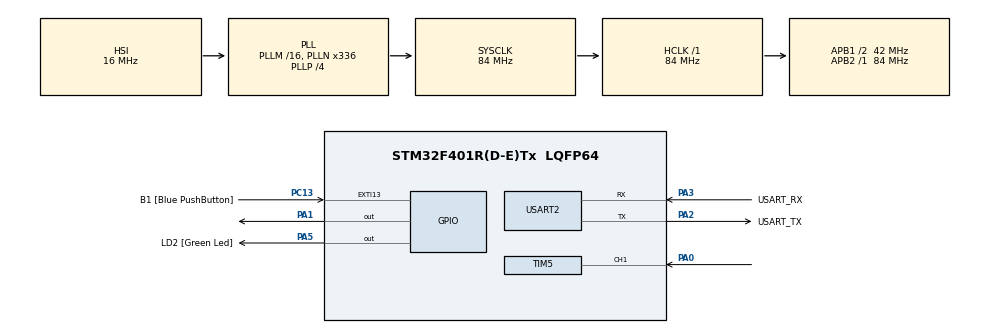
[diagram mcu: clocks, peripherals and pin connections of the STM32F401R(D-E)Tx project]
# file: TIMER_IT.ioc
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Mcu.Family=STM32F4
Mcu.Name=STM32F401R(D-E)Tx
Mcu.Package=LQFP64
NVIC.PriorityGroup=NVIC_PRIORITYGROUP_0
NVIC.TIM5_IRQn=true\:0\:0\:false\:false\:true\:true\:true
PA0-WKUP.Signal=S_TIM5_CH1
PA1.Signal=GPIO_Output
PA13.GPIO_Label=TMS
PA13.Mode=Trace_Asynchronous_SW
PA13.Signal=SYS_JTMS-SWDIO
PA14.GPIO_Label=TCK
PA14.Mode=Trace_Asynchronous_SW
PA14.Signal=SYS_JTCK-SWCLK
PA2.GPIO_Label=USART_TX
PA2.GPIO_Mode=GPIO_MODE_AF_PP
PA2.GPIO_PuPd=GPIO_NOPULL
PA2.GPIO_Speed=GPIO_SPEED_FREQ_LOW
PA2.Mode=Asynchronous
PA2.Signal=USART2_TX
PA3.GPIO_Label=USART_RX
PA3.GPIO_Mode=GPIO_MODE_AF_PP
PA3.GPIO_PuPd=GPIO_NOPULL
PA3.GPIO_Speed=GPIO_SPEED_FREQ_LOW
PA3.Mode=Asynchronous
PA3.Signal=USART2_RX
PA5.GPIO_Label=LD2 [Green Led]
PA5.GPIO_Mode=GPIO_MODE_OUTPUT_PP
PA5.GPIO_PuPd=GPIO_NOPULL
PA5.GPIO_Speed=GPIO_SPEED_FREQ_LOW
PA5.Signal=GPIO_Output
PB3.GPIO_Label=SWO
PB3.Mode=Trace_Asynchronous_SW
PB3.Signal=SYS_JTDO-SWO
PC13-ANTI_TAMP.GPIO_Label=B1 [Blue PushButton]
PC13-ANTI_TAMP.GPIO_ModeDefaultEXTI=GPIO_MODE_IT_FALLING
PC13-ANTI_TAMP.GPIO_PuPd=GPIO_NOPULL
PC13-ANTI_TAMP.Signal=GPXTI13
PC14-OSC32_IN.Mode=LSE-External-Oscillator
PC14-OSC32_IN.Signal=RCC_OSC32_IN
PC15-OSC32_OUT.Mode=LSE-External-Oscillator
PC15-OSC32_OUT.Signal=RCC_OSC32_OUT
PH0\ -\ OSC_IN.Mode=HSE-External-Clock-Source
PH0\ -\ OSC_IN.Signal=RCC_OSC_IN
PH1\ -\ OSC_OUT.Mode=HSE-External-Clock-Source
PH1\ -\ OSC_OUT.Signal=RCC_OSC_OUT
ProjectManager.HeapSize=0x200
ProjectManager.StackSize=0x400
ProjectManager.TargetToolchain=STM32CubeIDE
RCC.48MHZClocksFreq_Value=48000000
RCC.AHBFreq_Value=84000000
RCC.APB1CLKDivider=RCC_HCLK_DIV2
RCC.APB1Freq_Value=42000000
RCC.APB1TimFreq_Value=84000000
RCC.APB2Freq_Value=84000000
RCC.APB2TimFreq_Value=84000000
RCC.CortexFreq_Value=84000000
RCC.HCLKFreq_Value=84000000
RCC.HSE_VALUE=8000000
RCC.HSI_VALUE=16000000
RCC.PLLN=336
RCC.PLLP=RCC_PLLP_DIV4
RCC.PLLQ=7
RCC.SYSCLKFreq_VALUE=84000000
RCC.SYSCLKSource=RCC_SYSCLKSOURCE_PLLCLK
RCC.VCOOutputFreq_Value=336000000
SH.S_TIM5_CH1.0=TIM5_CH1,Input_Capture1_from_TI1
SH.S_TIM5_CH1.1=TIM5_CH1,Input_Capture2_from_TI1
TIM5.Channel-Input_Capture1_from_TI1=TIM_CHANNEL_1
TIM5.Channel-Input_Capture2_from_TI1=TIM_CHANNEL_2
TIM5.ICPolarity_CH2=TIM_INPUTCHANNELPOLARITY_FALLING
TIM5.Period=65535
TIM5.Prescaler=840
USART2.VirtualMode=VM_ASYNC
board=NUCLEO-F401RE

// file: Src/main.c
/* USER CODE BEGIN Header */
/**
  ******************************************************************************
  * @file           : main.c
  * @brief          : Main program body
  ******************************************************************************
  * @attention
  *
  * <h2><center>&copy; Copyright (c) 2020 STMicroelectronics.
  * All rights reserved.</center></h2>
  *
  * This software component is licensed by ST under BSD 3-Clause license,
  * the "License"; You may not use this file except in compliance with the
  * License. You may obtain a copy of the License at:
  *                        opensource.org/licenses/BSD-3-Clause
  *
  ******************************************************************************
  */
/* USER CODE END Header */

#include "main.h"

/* USER CODE BEGIN Includes */
#include <stdio.h>
/* USER CODE END Includes */

TIM_HandleTypeDef htim5;

UART_HandleTypeDef huart2;

/* USER CODE BEGIN PV */
uint32_t start_time = 0;
uint32_t return_time = 0;
uint32_t interval = 0;
float distance = 0;
uint8_t isMeas = 0;
/* USER CODE END PV */

void SystemClock_Config(void);
static void MX_GPIO_Init(void);
static void MX_USART2_UART_Init(void);
static void MX_TIM5_Init(void);

int main(void)
{

  /* MCU Configuration--------------------------------------------------------*/

  /* Reset of all peripherals, Initializes the Flash interface and the Systick. */
  HAL_Init();

  /* Configure the system clock */
  SystemClock_Config();

  /* Initialize all configured peripherals */
  MX_GPIO_Init();
  MX_USART2_UART_Init();
  MX_TIM5_Init();
  /* USER CODE BEGIN 2 */
  printf("Distance measurement by Ultra-sonic sensor\r\n");
  HAL_TIM_IC_Start_IT(&htim5, TIM_CHANNEL_1); //Direct Mode
  HAL_TIM_IC_Start_IT(&htim5, TIM_CHANNEL_2); //Indirect Mode
  /* USER CODE END 2 */

  /* Infinite loop */
  while (1)
  {

    /* USER CODE BEGIN 3 */
	  HAL_GPIO_WritePin(GPIOA, GPIO_PIN_1, GPIO_PIN_SET);
	  __HAL_TIM_SET_COUNTER(&htim5, 0);
	  HAL_Delay(1);
	  HAL_GPIO_WritePin(GPIOA, GPIO_PIN_1, GPIO_PIN_RESET);
	  isMeas = 1;
	  /* Echo Wait */
	  while(isMeas == 1);
	  /*           */
	  HAL_Delay(500);
  }
  /* USER CODE END 3 */
}

void SystemClock_Config(void)
{
  RCC_OscInitTypeDef RCC_OscInitStruct = {0};
  RCC_ClkInitTypeDef RCC_ClkInitStruct = {0};

  /** Configure the main internal regulator output voltage
  */
  __HAL_RCC_PWR_CLK_ENABLE();
  __HAL_PWR_VOLTAGESCALING_CONFIG(PWR_REGULATOR_VOLTAGE_SCALE2);
  /** Initializes the CPU, AHB and APB busses clocks
  */
  RCC_OscInitStruct.OscillatorType = RCC_OSCILLATORTYPE_HSI;
  RCC_OscInitStruct.HSIState = RCC_HSI_ON;
  RCC_OscInitStruct.HSICalibrationValue = RCC_HSICALIBRATION_DEFAULT;
  RCC_OscInitStruct.PLL.PLLState = RCC_PLL_ON;
  RCC_OscInitStruct.PLL.PLLSource = RCC_PLLSOURCE_HSI;
  RCC_OscInitStruct.PLL.PLLM = 16;
  RCC_OscInitStruct.PLL.PLLN = 336;
  RCC_OscInitStruct.PLL.PLLP = RCC_PLLP_DIV4;
  RCC_OscInitStruct.PLL.PLLQ = 7;
  if (HAL_RCC_OscConfig(&RCC_OscInitStruct) != HAL_OK)
  {
    Error_Handler();
  }
  /** Initializes the CPU, AHB and APB busses clocks
  */
  RCC_ClkInitStruct.ClockType = RCC_CLOCKTYPE_HCLK|RCC_CLOCKTYPE_SYSCLK
                              |RCC_CLOCKTYPE_PCLK1|RCC_CLOCKTYPE_PCLK2;
  RCC_ClkInitStruct.SYSCLKSource = RCC_SYSCLKSOURCE_PLLCLK;
  RCC_ClkInitStruct.AHBCLKDivider = RCC_SYSCLK_DIV1;
  RCC_ClkInitStruct.APB1CLKDivider = RCC_HCLK_DIV2;
  RCC_ClkInitStruct.APB2CLKDivider = RCC_HCLK_DIV1;

  if (HAL_RCC_ClockConfig(&RCC_ClkInitStruct, FLASH_LATENCY_2) != HAL_OK)
  {
    Error_Handler();
  }
}

static void MX_TIM5_Init(void)
{

  TIM_MasterConfigTypeDef sMasterConfig = {0};
  TIM_IC_InitTypeDef sConfigIC = {0};

  htim5.Instance = TIM5;
  htim5.Init.Prescaler = 840;
  htim5.Init.CounterMode = TIM_COUNTERMODE_UP;
  htim5.Init.Period = 65535;
  htim5.Init.ClockDivision = TIM_CLOCKDIVISION_DIV1;
  htim5.Init.AutoReloadPreload = TIM_AUTORELOAD_PRELOAD_DISABLE;
  if (HAL_TIM_IC_Init(&htim5) != HAL_OK)
  {
    Error_Handler();
  }
  sMasterConfig.MasterOutputTrigger = TIM_TRGO_RESET;
  sMasterConfig.MasterSlaveMode = TIM_MASTERSLAVEMODE_DISABLE;
  if (HAL_TIMEx_MasterConfigSynchronization(&htim5, &sMasterConfig) != HAL_OK)
  {
    Error_Handler();
  }
  sConfigIC.ICPolarity = TIM_INPUTCHANNELPOLARITY_RISING;
  sConfigIC.ICSelection = TIM_ICSELECTION_DIRECTTI;
  sConfigIC.ICPrescaler = TIM_ICPSC_DIV1;
  sConfigIC.ICFilter = 0;
  if (HAL_TIM_IC_ConfigChannel(&htim5, &sConfigIC, TIM_CHANNEL_1) != HAL_OK)
  {
    Error_Handler();
  }
  sConfigIC.ICPolarity = TIM_INPUTCHANNELPOLARITY_FALLING;
  sConfigIC.ICSelection = TIM_ICSELECTION_INDIRECTTI;
  if (HAL_TIM_IC_ConfigChannel(&htim5, &sConfigIC, TIM_CHANNEL_2) != HAL_OK)
  {
    Error_Handler();
  }

}

static void MX_USART2_UART_Init(void)
{

  huart2.Instance = USART2;
  huart2.Init.BaudRate = 115200;
  huart2.Init.WordLength = UART_WORDLENGTH_8B;
  huart2.Init.StopBits = UART_STOPBITS_1;
  huart2.Init.Parity = UART_PARITY_NONE;
  huart2.Init.Mode = UART_MODE_TX_RX;
  huart2.Init.HwFlowCtl = UART_HWCONTROL_NONE;
  huart2.Init.OverSampling = UART_OVERSAMPLING_16;
  if (HAL_UART_Init(&huart2) != HAL_OK)
  {
    Error_Handler();
  }

}

static void MX_GPIO_Init(void)
{
  GPIO_InitTypeDef GPIO_InitStruct = {0};

  /* GPIO Ports Clock Enable */
  __HAL_RCC_GPIOC_CLK_ENABLE();
  __HAL_RCC_GPIOH_CLK_ENABLE();
  __HAL_RCC_GPIOA_CLK_ENABLE();
  __HAL_RCC_GPIOB_CLK_ENABLE();

  /*Configure GPIO pin Output Level */
  HAL_GPIO_WritePin(GPIOA, GPIO_PIN_1|LD2_Pin, GPIO_PIN_RESET);

  /*Configure GPIO pin : B1_Pin */
  GPIO_InitStruct.Pin = B1_Pin;
  GPIO_InitStruct.Mode = GPIO_MODE_IT_FALLING;
  GPIO_InitStruct.Pull = GPIO_NOPULL;
  HAL_GPIO_Init(B1_GPIO_Port, &GPIO_InitStruct);

  /*Configure GPIO pins : PA1 LD2_Pin */
  GPIO_InitStruct.Pin = GPIO_PIN_1|LD2_Pin;
  GPIO_InitStruct.Mode = GPIO_MODE_OUTPUT_PP;
  GPIO_InitStruct.Pull = GPIO_NOPULL;
  GPIO_InitStruct.Speed = GPIO_SPEED_FREQ_LOW;
  HAL_GPIO_Init(GPIOA, &GPIO_InitStruct);

}

/* USER CODE BEGIN 4 */
int __io_putchar(int ch){

	return ITM_SendChar(ch);
}
void HAL_TIM_IC_CaptureCallback(TIM_HandleTypeDef *htim){
	// 신호가 low->high로 변했을때
	if(htim->Instance == TIM5){
	if(htim->Channel == HAL_TIM_ACTIVE_CHANNEL_1){
		start_time = HAL_TIM_ReadCapturedValue(htim, TIM_CHANNEL_1);
	}
	// 신호가 high->low로 변했을때
	if(htim->Channel== HAL_TIM_ACTIVE_CHANNEL_2){
		return_time = HAL_TIM_ReadCapturedValue(htim, TIM_CHANNEL_2);
		interval = return_time - start_time;
		distance = (float)(interval * 340) / 200000.0;
		printf("interval = %d, Distance = %6.2f\r\n", interval, distance);
		isMeas = 0;
		//printf("Distance = %6.2f\r\n", distance);
	}
	}
}
/* USER CODE END 4 */

void Error_Handler(void)
{
}

/************************ (C) COPYRIGHT STMicroelectronics *****END OF FILE****/
